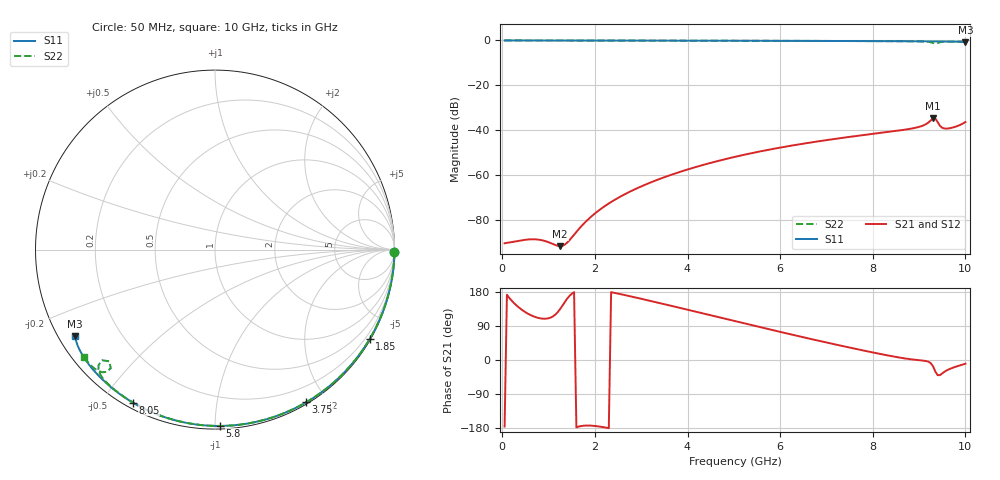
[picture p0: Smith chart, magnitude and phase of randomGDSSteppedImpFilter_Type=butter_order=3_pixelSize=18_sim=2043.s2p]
! freq	dB(S11)	phase(S11)	dB(S12)	phase(S12)
!  dB(S21)	phase(S21)	dB(S22)	phase(S22)
!S-par simulation data
#  GHz  S  DB  R 50
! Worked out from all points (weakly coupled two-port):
!   200 points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, 50 MHz to 10 GHz, reference 50 ohm
!   highest |S21| = -34.72 dB at 9.3 GHz (marker M1); lowest = -91.5 dB at 1.25 GHz (marker M2)
!   lowest |S11| = -0.7 dB at 10 GHz (marker M3), VSWR 23.24, Z = 2.33 - j14.2 ohm
!   |S11| at or under -10 dB: nowhere
!   |S22| runs from -1.3 to 0.0 dB; largest |S21 - S12| = 0
!   S11 on the Smith chart (normalised r, x): 50 MHz: open; 1.85 GHz: 0.03, -3.74; 3.75 GHz: 0.02, -1.76; 5.8 GHz: 0.02, -1.03; 8.05 GHz: 0.02, -0.60; 10 GHz: 0.05, -0.28
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0.05  -0.00 -0.8  -90.26 -175.6  -90.26 -175.6  -0.00 -0.8
1.25  -0.02 -20.4  -91.54 134.7  -91.54 134.7  -0.02 -20.3
1.75  -0.04 -28.4  -81.73 -173.4  -81.73 -173.4  -0.04 -28.3
1.85  -0.04 -30.0  -79.69 -172.9  -79.69 -172.9  -0.04 -29.9
2.15  -0.04 -34.7  -74.63 -176.6  -74.63 -176.6  -0.04 -34.6
2.55  -0.05 -40.9  -69.46 173.9  -69.46 173.9  -0.05 -40.9
3.4  -0.07 -54.0  -61.61 150.1  -61.61 150.1  -0.07 -53.8
3.75  -0.08 -59.2  -59.07 140.0  -59.07 140.0  -0.08 -59.0
5.05  -0.12 -78.0  -51.67 101.9  -51.67 101.9  -0.12 -77.8
5.8  -0.15 -88.4  -48.44 80.0  -48.44 80.0  -0.15 -88.1
6.7  -0.19 -100.5  -45.28 54.4  -45.28 54.4  -0.19 -100.1
8.05  -0.29 -118.3  -41.42 18.7  -41.42 18.7  -0.29 -117.7
8.35  -0.31 -122.2  -40.64 11.4  -40.64 11.4  -0.31 -121.5
9  -0.38 -130.9  -38.46 -0.6  -38.46 -0.6  -0.42 -130.5
9.15  -0.39 -133.0  -37.23 -2.8  -37.23 -2.8  -0.53 -133.2
9.3  -0.41 -135.2  -34.72 -16.4  -34.72 -16.4  -1.11 -135.5
9.35  -0.42 -135.9  -34.73 -30.2  -34.73 -30.2  -1.35 -133.4
9.4  -0.43 -136.7  -36.29 -40.0  -36.29 -40.0  -1.11 -131.3
9.45  -0.44 -137.5  -37.95 -39.9  -37.95 -39.9  -0.81 -131.6
9.55  -0.46 -139.1  -39.18 -30.9  -39.18 -30.9  -0.57 -133.7
9.75  -0.53 -142.6  -38.61 -19.5  -38.61 -19.5  -0.49 -137.1
10  -0.75 -148.2  -36.29 -9.7  -36.29 -9.7  -0.49 -140.7
